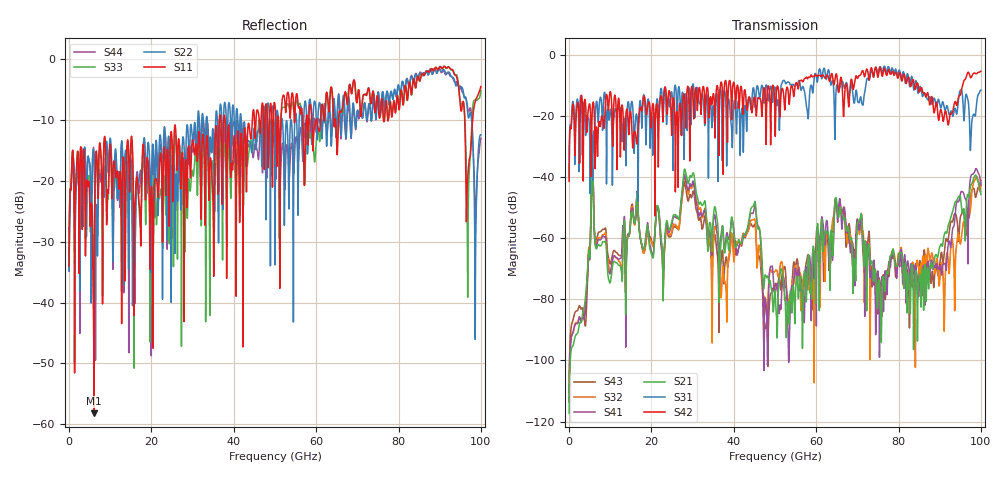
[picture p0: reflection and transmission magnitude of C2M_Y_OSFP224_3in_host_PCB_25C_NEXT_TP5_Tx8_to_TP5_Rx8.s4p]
# GHz S RI R 45
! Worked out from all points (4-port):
!   4000 points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, 25 MHz to 100 GHz, reference 45 ohm
!   strongest paths, dB at 25 MHz, 25.02 GHz, 50.02 GHz, 75.03 GHz, 100 GHz:
!     S42: -41.4, -21.0, -22.5, -7.4, -5.4
!     S31: -40.1, -12.9, -10.6, -6.6, -11.6
!     S21: -117.3, -54.3, -77.4, -77.4, -45.7
!     S41: -113.8, -55.2, -77.5, -70.9, -42.6
!     S32: -113.4, -57.1, -70.8, -73.8, -42.7
!     S43: -110.3, -58.0, -75.1, -79.2, -41.1
!   lowest |S11| = -58.2 dB at 6.05 GHz (marker M1), VSWR 1.00, Z = 44.9 + j0.0964 ohm
!   |S11| at or under -10 dB: start of sweep to 36.5 GHz; 37.88 GHz to 44.5 GHz (6.618 GHz wide, 16.1 % of centre); 96.08 GHz to 98 GHz (1.926 GHz wide, 1.98 % of centre) (the widest 3 of 21)
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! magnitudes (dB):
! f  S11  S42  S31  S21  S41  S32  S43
! 25 MHz  -34.0  -41.4  -40.1  -117.3  -113.8  -113.4  -110.3
! 6.05 GHz  -58.2  -17.0  -24.9  -53.4  -53.8  -53.4  -53.9
! 9.9 GHz  -14.4  -12.5  -19.0  -74.7  -71.7  -71.1  -68.3
! 29.93 GHz  -13.3  -11.0  -10.7  -39.3  -42.0  -43.0  -45.7
! 53.38 GHz  -6.2  -15.1  -8.9  -87.5  -99.3  -82.1  -82.7
! 91.03 GHz  -1.2  -20.8  -16.8  -59.4  -68.4  -84.0  -65.9
! 100 GHz  -4.5  -5.4  -11.6  -45.7  -42.6  -42.7  -41.1
